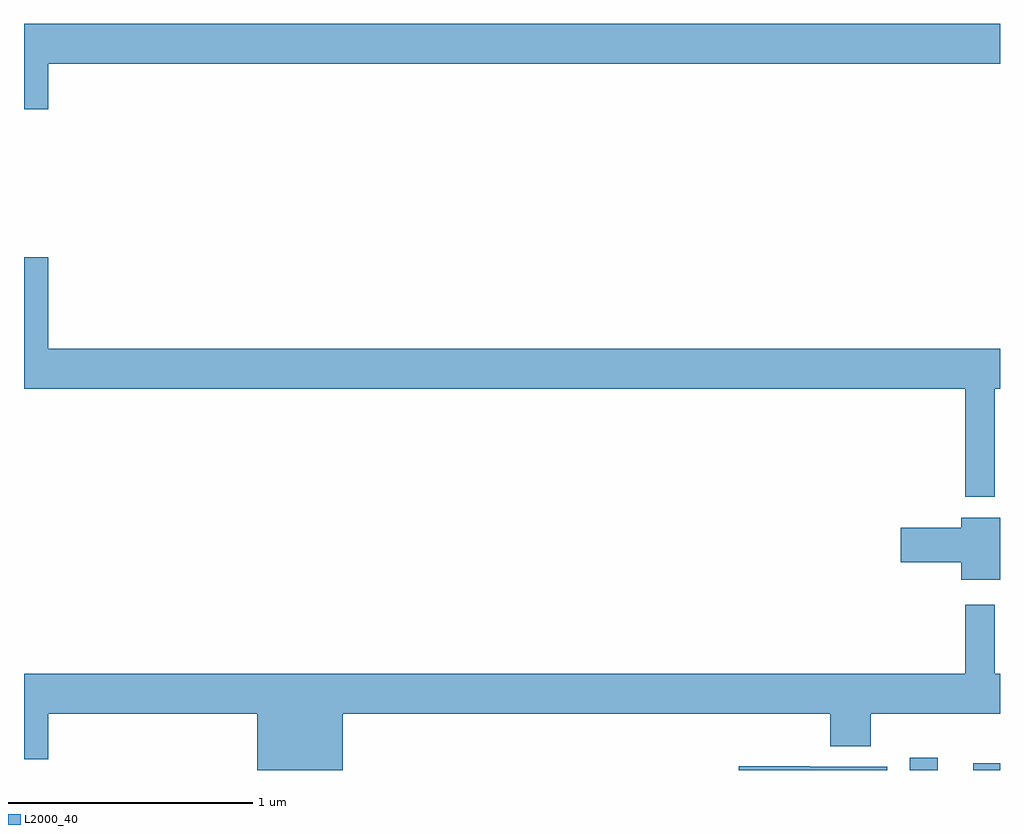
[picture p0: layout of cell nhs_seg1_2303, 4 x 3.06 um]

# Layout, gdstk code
import gdstk
lib = gdstk.Library(unit=1e-6, precision=1e-09)
def R(c, l, rs):  # rectangles x0, y0, x1, y1
    for r in rs: c.add(gdstk.rectangle(r[:2], r[2:], *l))
def P(c, l, *ps):  # polygons
    for p in ps: c.add(gdstk.Polygon(p, *l))
L2000_40 = (2000, 40)

nhs_seg1_2303 = lib.new_cell('nhs_seg1_2303')
R(nhs_seg1_2303, L2000_40, [(240.63,518.199,240.745,518.251), (240.891,518.199,241,518.228)])
P(nhs_seg1_2303, L2000_40, [(237.1,521.096),(241,521.096),(241,521.26),(237,521.26),(237,520.908),(237.1,520.908)],
  [(240.979,519.764),(241,519.764),(241,519.928),(237.1,519.928),(237.1,520.303),(237,520.303),(237,519.764),(240.858,519.764),(240.858,519.32),(240.979,519.32)],
  [(241,519.235),(240.842,519.235),(240.842,519.194),(240.594,519.194),(240.594,519.052),(240.842,519.052),(240.842,518.981),(241,518.981)],
  [(238.306,518.432),(240.305,518.432),(240.305,518.299),(240.47,518.299),(240.47,518.432),(241,518.432),(241,518.596),(240.979,518.596),(240.979,518.878),(240.858,518.878),(240.858,518.596),(237,518.596),(237,518.244),(237.1,518.244),(237.1,518.432),(237.956,518.432),(237.956,518.199),(238.306,518.199)],
  [(240.537,518.214),(240.221,518.214),(240.221,518.216),(239.929,518.216),(239.929,518.199),(240.537,518.199)])

lib.write_gds('nhs_seg1_2303.gds')
